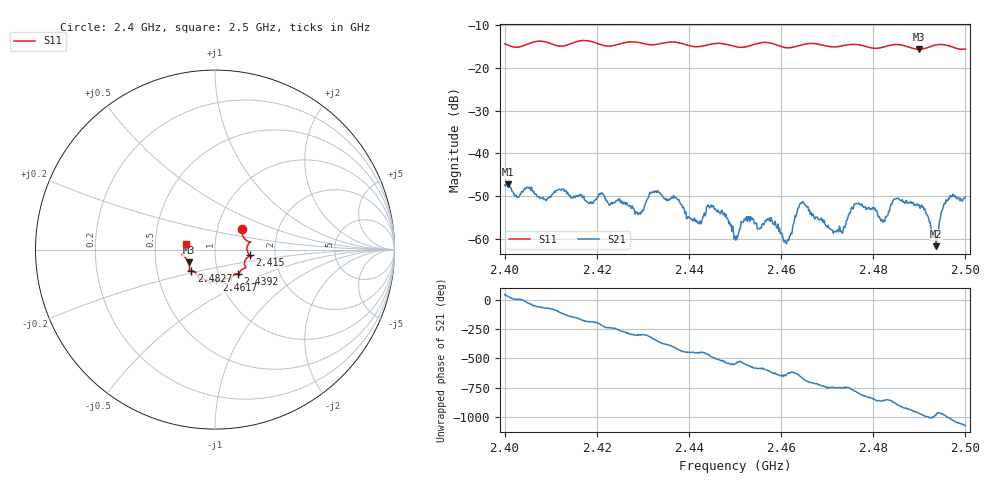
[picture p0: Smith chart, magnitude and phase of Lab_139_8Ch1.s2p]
# Hz S RI R 50
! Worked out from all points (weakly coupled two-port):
!   601 points, 2.4 GHz to 2.5 GHz, reference 50 ohm
!   highest |S21| = -47.25 dB at 2.4007 GHz (marker M1); lowest = -61.6 dB at 2.4937 GHz (marker M2)
!   lowest |S11| = -15.7 dB at 2.4898 GHz (marker M3), VSWR 1.39, Z = 36.8 - j5.41 ohm
!   |S11| at or under -10 dB: start of sweep to end of sweep
!   S12 and S22 are empty: the file has one direction only
!   S11 on the Smith chart (normalised r, x): 2.4 GHz: 1.31, +0.31; 2.415 GHz: 1.48, -0.10; 2.4392 GHz: 1.24, -0.35; 2.4617 GHz: 0.96, -0.34; 2.4827 GHz: 0.75, -0.18; 2.5 GHz: 0.72, +0.05
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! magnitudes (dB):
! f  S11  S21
! 2.4 GHz  -14.4  -47.4
! 2.4007 GHz  -14.7  -47.3
! 2.415 GHz  -14.2  -50.0
! 2.4167 GHz  -13.7  -49.8
! 2.429 GHz  -14.1  -54.3
! 2.4333 GHz  -14.5  -48.9
! 2.4392 GHz  -14.6  -54.0
! 2.4422 GHz  -15.1  -56.4
! 2.4452 GHz  -14.4  -52.2
! 2.45 GHz  -15.1  -59.3
! 2.4575 GHz  -14.2  -55.0
! 2.4617 GHz  -15.4  -60.3
! 2.4643 GHz  -14.7  -51.7
! 2.4667 GHz  -14.4  -54.6
! 2.4715 GHz  -15.2  -58.3
! 2.4763 GHz  -14.6  -51.8
! 2.4827 GHz  -15.1  -54.7
! 2.4833 GHz  -14.9  -53.5
! 2.4898 GHz  -15.7  -52.2
! 2.4937 GHz  -14.7  -61.6
! 2.4958 GHz  -14.7  -50.8
! 2.5 GHz  -15.7  -50.2
